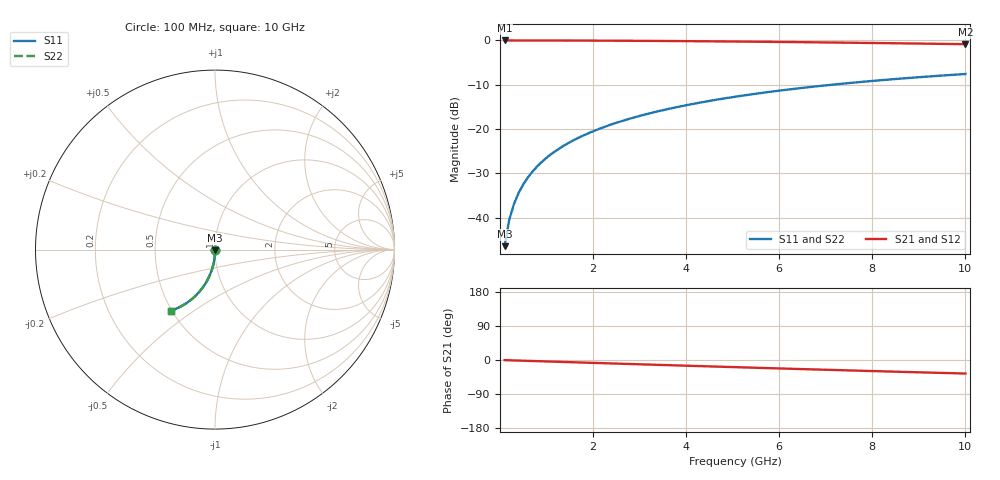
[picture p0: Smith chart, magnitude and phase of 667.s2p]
# Hz S RI R 50.00
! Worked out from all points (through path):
!   100 points, 100 MHz to 10 GHz, reference 50 ohm
!   highest |S21| = -0.01 dB at 100 MHz (marker M1); lowest = -0.8 dB at 10 GHz (marker M2)
!   group delay of S21, straight-line fit = 9.96 ps
!   lowest |S11| = -46.4 dB at 100 MHz (marker M3), VSWR 1.01, Z = 50.1 - j0.476 ohm
!   |S11| at or under -10 dB: start of sweep to 7.126 GHz
!   |S22| runs from -46.4 to -7.6 dB; largest |S21 - S12| = 0
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1e8  0.000546 -0.00475  0.9994 -0.00662  0.9994 -0.00662  0.000546 -0.00475
2e8  0.00045 -0.0095  0.9993 -0.0132  0.9993 -0.0132  0.00045 -0.0095
3e8  0.00029 -0.0143  0.9991 -0.0199  0.9991 -0.0199  0.00029 -0.0143
4e8  6.65e-05 -0.019  0.9989 -0.0265  0.9989 -0.0265  6.65e-05 -0.019
5e8  -0.00022 -0.0237  0.9985 -0.0331  0.9985 -0.0331  -0.00022 -0.0237
6e8  -0.000569 -0.0285  0.9982 -0.0397  0.9982 -0.0397  -0.000569 -0.0285
7e8  -0.000982 -0.0332  0.9977 -0.0463  0.9977 -0.0463  -0.000982 -0.0332
8e8  -0.00146 -0.0379  0.9972 -0.0529  0.9972 -0.0529  -0.00146 -0.0379
9e8  -0.00199 -0.0426  0.9967 -0.0595  0.9967 -0.0595  -0.00199 -0.0426
1.1e9  -0.00325 -0.052  0.9953 -0.0727  0.9953 -0.0727  -0.00325 -0.052
1.4e9  -0.00561 -0.0661  0.9928 -0.0923  0.9928 -0.0923  -0.00561 -0.0661
1.8e9  -0.0096 -0.0846  0.9886 -0.1183  0.9886 -0.1183  -0.0096 -0.0846
2.1e9  -0.0132 -0.0982  0.9848 -0.1376  0.9848 -0.1376  -0.0132 -0.0982
2.5e9  -0.0189 -0.1162  0.9788 -0.163  0.9788 -0.163  -0.0189 -0.1162
2.9e9  -0.0254 -0.1337  0.9719 -0.1881  0.9719 -0.1881  -0.0254 -0.1337
3.4e9  -0.0348 -0.155  0.9619 -0.2188  0.9619 -0.2188  -0.0348 -0.155
4.2e9  -0.0525 -0.1875  0.9431 -0.2663  0.9431 -0.2663  -0.0525 -0.1875
5.1e9  -0.0759 -0.2211  0.9182 -0.3169  0.9182 -0.3169  -0.0759 -0.2211
5.9e9  -0.0994 -0.2481  0.8931 -0.3592  0.8931 -0.3592  -0.0994 -0.2481
6.7e9  -0.125 -0.2723  0.8657 -0.3985  0.8657 -0.3985  -0.125 -0.2723
8.4e9  -0.1844 -0.3135  0.8015 -0.4723  0.8015 -0.4723  -0.1844 -0.3135
1e10  -0.2439 -0.3397  0.7365 -0.5295  0.7365 -0.5295  -0.2439 -0.3397
